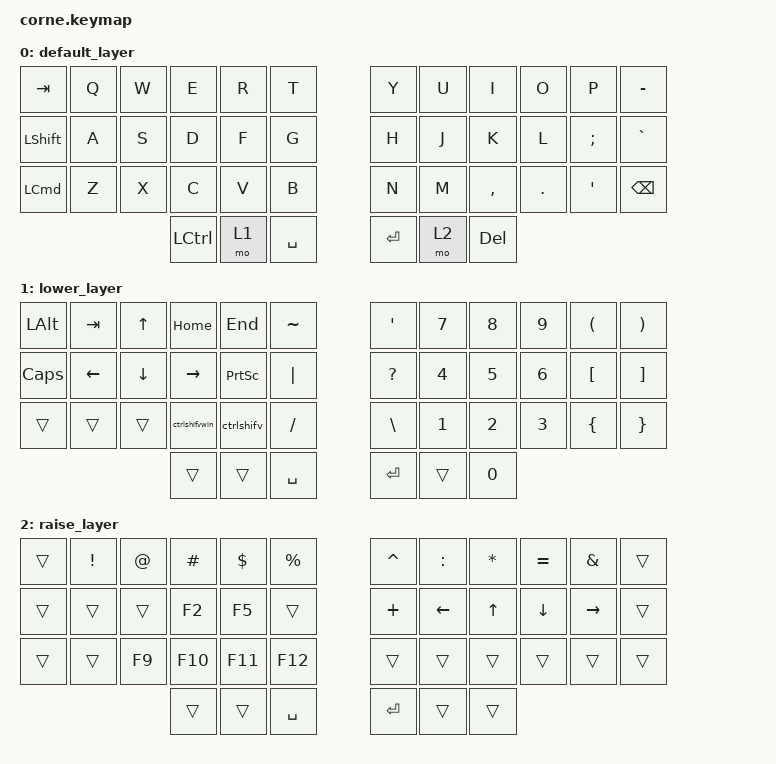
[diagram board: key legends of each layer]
/*
 * Copyright (c) 2020 The ZMK Contributors
 *
 * SPDX-License-Identifier: MIT
 */

#include <behaviors.dtsi>
#include <dt-bindings/zmk/keys.h>

/ {
    combos {
        compatible = "zmk,combos";

        backspace {
            bindings = <&kp BACKSPACE>;
            key-positions = <6 7>;
        };

        PUP {
            bindings = <&kp PAGE_UP>;
            key-positions = <10 11>;
        };

        PDOWN {
            bindings = <&kp PAGE_DOWN>;
            key-positions = <22 23>;
        };

        escape {
            bindings = <&kp ESC>;
            key-positions = <0 1>;
        };
    };

    macros {
        ctrlshifv: ctrlshifv {
            compatible = "zmk,behavior-macro";
            #binding-cells = <0>;
            bindings = <&kp LS(LG(LA(V)))>;
            label = "CTRLSHIFV";
        };

        ctrlshifvwin: ctrlshifv_win {
            compatible = "zmk,behavior-macro";
            #binding-cells = <0>;
            bindings = <&kp LC(LS(V))>;
            label = "CTRLSHIFV_WIN";
        };
    };

    keymap {
        compatible = "zmk,keymap";

        default_layer {
            // -----------------------------------------------------------------------------------------
            // |  TAB |  Q  |  W  |  E  |  R  |  T  |   |  Y  |  U   |  I  |  O  |  P  | BSPC |
            // | CTRL |  A  |  S  |  D  |  F  |  G  |   |  H  |  J   |  K  |  L  |  ;  |  '   |
            // | SHFT |  Z  |  X  |  C  |  V  |  B  |   |  N  |  M   |  ,  |  .  |  /  | ESC  |
            //                    | GUI | LWR | SPC |   | ENT | RSE  | ALT |

            bindings = <
&kp TAB           &kp Q  &kp W  &kp E      &kp R  &kp T        &kp Y    &kp U  &kp I      &kp O    &kp P             &kp MINUS
&kp LEFT_SHIFT    &kp A  &kp S  &kp D      &kp F  &kp G        &kp H    &kp J  &kp K      &kp L    &kp SEMI          &kp GRAVE
&kp LEFT_COMMAND  &kp Z  &kp X  &kp C      &kp V  &kp B        &kp N    &kp M  &kp COMMA  &kp DOT  &kp SINGLE_QUOTE  &kp BACKSPACE
                                &kp LCTRL  &mo 1  &kp SPACE    &kp RET  &mo 2  &kp DEL
            >;
        };

        lower_layer {
            // -----------------------------------------------------------------------------------------
            // |  TAB |  1  |  2  |  3  |  4  |  5  |   |  6  |  7  |  8  |  9  |  0  | BSPC |
            // | BTCLR| BT1 | BT2 | BT3 | BT4 | BT5 |   | LFT | DWN |  UP | RGT |     |      |
            // | SHFT |     |     |     |     |     |   |     |     |     |     |     |      |
            //                    | GUI |     | SPC |   | ENT |     | ALT |

            bindings = <
&kp LEFT_ALT  &kp TAB         &kp UP_ARROW  &kp HOME       &kp END          &kp TILDE    &kp APOS       &kp N7        &kp N8        &kp N9        &kp LEFT_PARENTHESIS  &kp RIGHT_PARENTHESIS
&kp CAPS      &kp LEFT_ARROW  &kp DOWN      &kp RIGHT      &kp PRINTSCREEN  &kp PIPE     &kp QUESTION   &kp NUMBER_4  &kp N5        &kp NUMBER_6  &kp LEFT_BRACKET      &kp RIGHT_BRACKET
&trans        &trans          &trans        &ctrlshifvwin  &ctrlshifv       &kp SLASH    &kp BACKSLASH  &kp NUMBER_1  &kp NUMBER_2  &kp NUMBER_3  &kp LEFT_BRACE        &kp RIGHT_BRACE
                                            &trans         &trans           &kp SPACE    &kp RET        &trans        &kp NUMBER_0
            >;
        };

        raise_layer {
            // -----------------------------------------------------------------------------------------
            // |  TAB |  !  |  @  |  #  |  $  |  %  |   |  ^  |  &  |  *  |  (  |  )  | BSPC |
            // | CTRL |     |     |     |     |     |   |  -  |  =  |  [  |  ]  |  \  |  `   |
            // | SHFT |     |     |     |     |     |   |  _  |  +  |  {  |  }  | "|" |  ~   |
            //                    | GUI |     | SPC |   | ENT |     | ALT |

            bindings = <
&trans  &kp EXCL  &kp AT  &kp HASH  &kp DLLR  &kp PRCNT    &kp CARET  &kp COLON       &kp ASTRK     &kp EQUAL       &kp AMPERSAND  &trans
&trans  &trans    &trans  &kp F2    &kp F5    &trans       &kp PLUS   &kp LEFT_ARROW  &kp UP_ARROW  &kp DOWN_ARROW  &kp RIGHT      &trans
&trans  &trans    &kp F9  &kp F10   &kp F11   &kp F12      &trans     &trans          &trans        &trans          &trans         &trans
                          &trans    &trans    &kp SPACE    &kp RET    &trans          &trans
            >;
        };
    };
};
